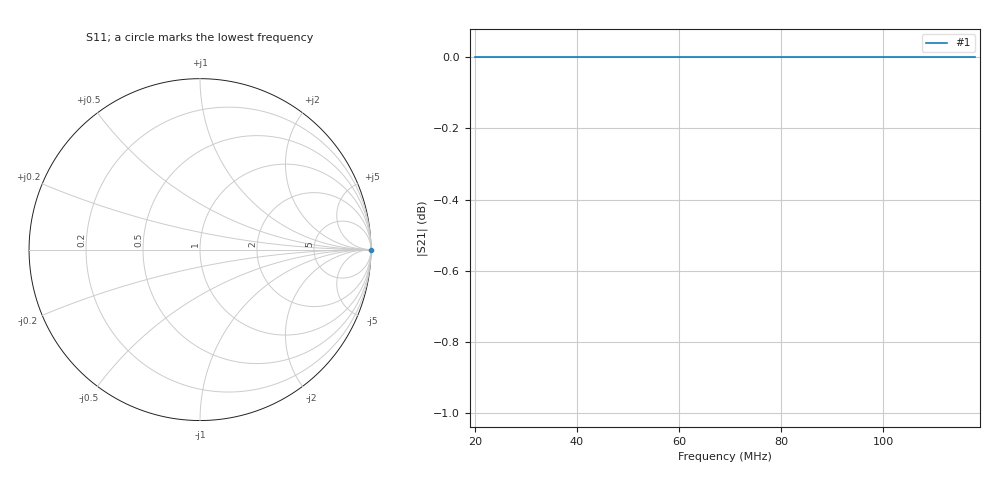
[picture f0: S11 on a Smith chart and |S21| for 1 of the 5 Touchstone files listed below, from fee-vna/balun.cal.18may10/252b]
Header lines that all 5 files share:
! Anritsu VNA Master:  Model: MS2036C/10/77
! SN:  1601066
! Existing Calibration Information:
! TYPE:  Current Settings,  Active Cal Settings
! # POINTS:  490,  490
! START FREQ:  20.000 MHz,  20.000 MHz
! STOP FREQ:  117.995 991 MHz,  117.995 991 MHz
! SOURCE POWER:  High,  High
! IFBW:  50 Hz,  50 Hz
! AVG FACTOR:  1 ,  1
! REF PLANE 1:  0 mm,  0 mm
! REF PLANE 2:  0 mm,  0 mm
! CAL TYPE:  Full S22,  Full S22
! CAL METHOD:  SOLT,  SOLT
! CAL LINE TYPE:  Coax,  Coax
! DUT PORT 1:  K-Conn(M),  K-Conn(M)
! DUT PORT 2:  K-Conn(M),  K-Conn(M)
! CAL STATUS:  OK: Accuracy High,  --
# GHZ S DB R 50.0
! FREQ.GHZ  S11DB  S11A  S21DB  S21A  S12DB  S12A  S22DB  S22A
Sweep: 20 MHz to 118 MHz
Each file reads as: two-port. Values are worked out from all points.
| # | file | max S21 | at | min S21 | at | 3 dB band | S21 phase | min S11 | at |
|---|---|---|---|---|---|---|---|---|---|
| 1 | c.2b.m3.s2p | 0.00 dB | 20 MHz | 0.0 dB | 20 MHz | 20 MHz-118 MHz | 0 deg at 69.1 MHz | 0.0 dB | 20 MHz |
| 2 | c.2b.m6.s2p | 0.00 dB | 20 MHz | 0.0 dB | 20 MHz | 20 MHz-118 MHz | 0 deg at 69.1 MHz | 0.0 dB | 20 MHz |
| 3 | c.2b.m8.s2p | 0.00 dB | 20 MHz | 0.0 dB | 20 MHz | 20 MHz-118 MHz | 0 deg at 69.1 MHz | 0.0 dB | 20 MHz |
| 4 | c.2b.m9.s2p | 0.00 dB | 20 MHz | 0.0 dB | 20 MHz | 20 MHz-118 MHz | 0 deg at 69.1 MHz | 0.0 dB | 20 MHz |
| 5 | c.2b.m10.s2p | 0.00 dB | 20 MHz | 0.0 dB | 20 MHz | 20 MHz-118 MHz | 0 deg at 69.1 MHz | 0.0 dB | 20 MHz |
